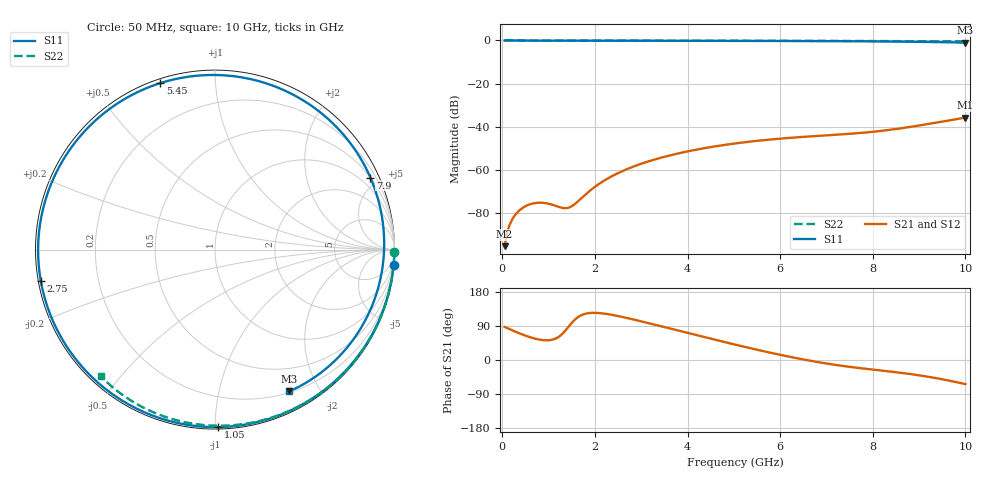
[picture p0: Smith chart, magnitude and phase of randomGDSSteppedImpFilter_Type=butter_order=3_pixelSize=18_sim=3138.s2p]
! freq	dB(S11)	phase(S11)	dB(S12)	phase(S12)
!  dB(S21)	phase(S21)	dB(S22)	phase(S22)
!S-par simulation data
#  GHz  S  DB  R 50
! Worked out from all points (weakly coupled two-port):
!   200 points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, 50 MHz to 10 GHz, reference 50 ohm
!   highest |S21| = -35.69 dB at 10 GHz (marker M1); lowest = -95.2 dB at 50 MHz (marker M2)
!   lowest |S11| = -1.0 dB at 10 GHz (marker M3), VSWR 17.43, Z = 10.6 - j81.6 ohm
!   |S11| at or under -10 dB: nowhere
!   |S22| runs from -0.4 to 0.0 dB; largest |S21 - S12| = 0
!   S11 on the Smith chart (normalised r, x): 50 MHz: 0, -24; 1.05 GHz: 0.01, -1.02; 2.75 GHz: 0.01, -0.09; 5.45 GHz: 0.02, +0.72; 7.9 GHz: 0.50, +4.48; 10 GHz: 0.21, -1.63
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0.05  -0.00 -4.8  -95.17 87.3  -95.17 87.3  -0.00 -0.8
0.3  -0.04 -28.5  -80.14 73.9  -80.14 73.9  -0.01 -4.6
0.55  -0.07 -50.7  -76.17 62.1  -76.17 62.1  -0.01 -8.4
0.8  -0.08 -71.0  -75.06 53.8  -75.06 53.8  -0.02 -12.1
1.05  -0.09 -89.0  -75.79 52.9  -75.79 52.9  -0.02 -15.9
1.4  -0.10 -110.8  -77.55 83.1  -77.55 83.1  -0.03 -21.1
1.55  -0.11 -119.0  -75.95 104.5  -75.95 104.5  -0.03 -23.4
1.75  -0.11 -129.2  -72.13 120.4  -72.13 120.4  -0.03 -26.3
2.2  -0.11 -149.1  -64.83 122.4  -64.83 122.4  -0.04 -33.0
2.75  -0.12 -169.8  -59.03 109.2  -59.03 109.2  -0.05 -40.9
3.4  -0.13 169.0  -54.41 89.9  -54.41 89.9  -0.07 -50.1
4.2  -0.16 145.0  -50.47 65.3  -50.47 65.3  -0.09 -61.2
5.05  -0.19 120.1  -47.58 39.9  -47.58 39.9  -0.11 -72.6
5.45  -0.21 108.1  -46.55 28.5  -46.55 28.5  -0.12 -77.8
6.1  -0.24 88.0  -45.24 11.1  -45.24 11.1  -0.15 -86.1
6.7  -0.28 68.2  -44.31 -3.1  -44.31 -3.1  -0.18 -93.5
7.3  -0.33 47.2  -43.48 -14.8  -43.48 -14.8  -0.21 -100.8
7.9  -0.41 24.9  -42.47 -23.9  -42.47 -23.9  -0.25 -108.0
8.35  -0.48 7.3  -41.40 -30.1  -41.40 -30.1  -0.29 -113.2
8.75  -0.57 -9.0  -40.20 -36.1  -40.20 -36.1  -0.32 -117.9
9.15  -0.68 -25.7  -38.82 -43.3  -38.82 -43.3  -0.36 -122.5
10  -1.00 -62.4  -35.69 -63.6  -35.69 -63.6  -0.45 -132.1
